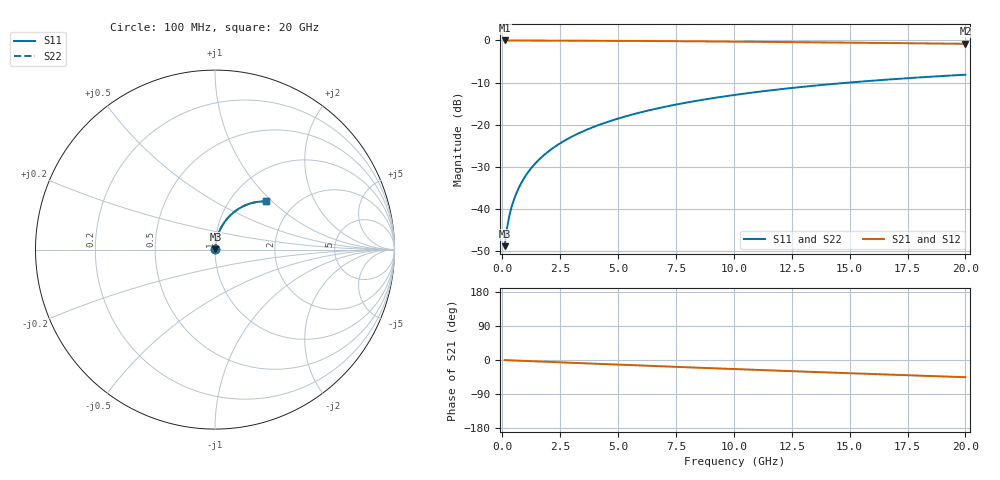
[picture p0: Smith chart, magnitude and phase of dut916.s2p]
! Touchstone file exported from HFSS 2026.1.0
!  File:  C:/ffzhzh/LocalFiles/Ansys_Project_Files/temp_train_TMRDL_916_1783158084_55132.aedt
!  Generated:  05:42:43 PM Jul  4, 2026
!  Design:  TMRDL
!  Project:  temp_train_TMRDL_916_1783158084_55132
! Variables:
!  h_bsmrdl = 2um
!  h_ox = 20um
!  h_rdl = 5um
!  h_sub = 80um
!  h_tmrdl = 3.76um
!  h_tsv = 80um
!  h_via = 3um
!  l_bsmrdl = 300um
!  l_sub = 1069.71um
!  l_tmrdl = 669.71um
!  m_sub = 200um
!  pitch = 58.06um
!  r_tsv = 6um
!  s_tmrdl = 10um
!  w_bsmrdl = 18um
!  w_sub = 500um
!  w_tmrdl = 28.5um
!  x_tsv_center1 = 683.96um
!  x_tsv_center2 = 1001.96um
!  x_tsv_center3 = 1700.17um
!  x_tsv_center4 = 2018.17um
!  x_tsv_center5 = 2716.38um
!  x_tsv_center6 = 3034.38um
# GHz S MA R 50.000000
! Terminal data exported
! Port[1] = TM_RDL1_1_T1
! Port[2] = TM_RDL1_1_T2
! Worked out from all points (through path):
!   200 points, 100 MHz to 20 GHz, reference 50 ohm
!   highest |S21| = -0.02 dB at 100 MHz (marker M1); lowest = -0.8 dB at 20 GHz (marker M2)
!   group delay of S21, straight-line fit = 6.3 ps
!   lowest |S11| = -48.8 dB at 100 MHz (marker M3), VSWR 1.01, Z = 50.2 + j0.268 ohm
!   |S11| at or under -10 dB: start of sweep to 14.98 GHz
!   |S22| runs from -48.8 to -8.1 dB; largest |S21 - S12| = 2.7e-15
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0.1  0.003638 47.1  0.9975 -0.3  0.9975 -0.3  0.003638 47.1
! Gamma 0 0 0 0
! Port Impedance 50 0 50 0
0.2  0.005875 62.8  0.9973 -0.5  0.9973 -0.5  0.005875 62.8
0.3  0.008219 69.3  0.9972 -0.8  0.9972 -0.8  0.008218 69.3
0.4  0.01056 72.8  0.997 -1.0  0.997 -1.0  0.01056 72.8
0.5  0.01289 75.1  0.9969 -1.3  0.9969 -1.3  0.01289 75.1
0.7  0.01759 77.8  0.9967 -1.7  0.9967 -1.7  0.01758 77.8
0.8  0.01994 78.7  0.9966 -2.0  0.9966 -2.0  0.01994 78.7
1  0.02468 79.8  0.9965 -2.5  0.9965 -2.5  0.02468 79.8
1.2  0.02943 80.4  0.9963 -3.0  0.9963 -3.0  0.02943 80.4
1.4  0.03419 80.7  0.9961 -3.5  0.9961 -3.5  0.03419 80.7
1.7  0.04134 80.9  0.9957 -4.2  0.9957 -4.2  0.04134 80.9
2  0.04848 80.7  0.9952 -4.9  0.9952 -4.9  0.04848 80.7
2.7  0.06508 79.9  0.994 -6.6  0.994 -6.6  0.06508 79.9
3.5  0.08387 78.4  0.9922 -8.6  0.9922 -8.6  0.08387 78.4
4.2  0.1001 77.0  0.9903 -10.3  0.9903 -10.3  0.1001 77.0
5  0.1184 75.3  0.9878 -12.2  0.9878 -12.2  0.1184 75.3
6.8  0.1583 71.3  0.9812 -16.5  0.9812 -16.5  0.1583 71.3
8.3  0.1903 67.9  0.9748 -20.0  0.9748 -20.0  0.1903 68.0
10.1  0.2269 64.0  0.9662 -24.1  0.9662 -24.1  0.2269 64.0
13.4  0.289 56.8  0.9486 -31.5  0.9486 -31.5  0.289 56.9
16.7  0.3441 49.9  0.9296 -38.5  0.9296 -38.5  0.344 50.0
20  0.3916 43.3  0.9104 -45.4  0.9104 -45.4  0.3916 43.3
